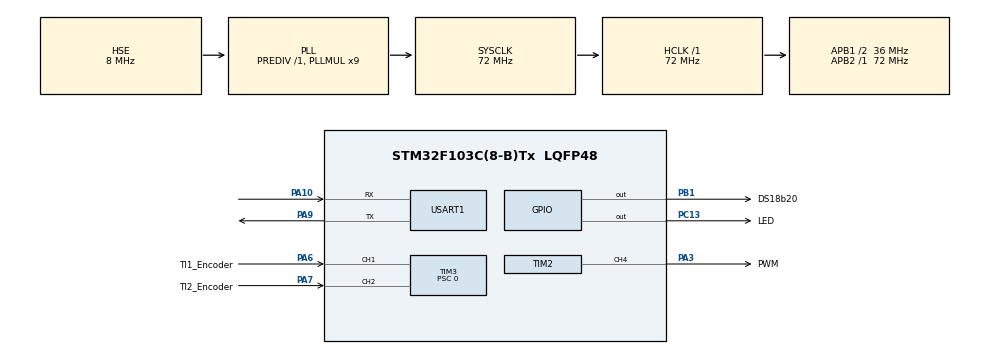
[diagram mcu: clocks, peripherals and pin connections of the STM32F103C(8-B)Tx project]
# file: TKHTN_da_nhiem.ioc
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FREERTOS.Tasks01=defaultTask,24,128,StartDefaultTask,Default,NULL,Dynamic,NULL,NULL;readSensor,24,128,StartTask02,Default,NULL,Dynamic,NULL,NULL;myTask03,24,128,StartTask03,Default,NULL,Dynamic,NULL,NULL
Mcu.Family=STM32F1
Mcu.Name=STM32F103C(8-B)Tx
Mcu.Package=LQFP48
NVIC.PriorityGroup=NVIC_PRIORITYGROUP_4
NVIC.USART1_IRQn=true\:5\:0\:false\:false\:true\:true\:true\:true
PA10.Mode=Asynchronous
PA10.Signal=USART1_RX
PA13.Mode=Serial_Wire
PA13.Signal=SYS_JTMS-SWDIO
PA14.Mode=Serial_Wire
PA14.Signal=SYS_JTCK-SWCLK
PA3.GPIO_Label=PWM
PA3.Signal=S_TIM2_CH4
PA6.GPIO_Label=TI1_Encoder
PA6.Signal=S_TIM3_CH1
PA7.GPIO_Label=TI2_Encoder
PA7.Signal=S_TIM3_CH2
PA9.Mode=Asynchronous
PA9.Signal=USART1_TX
PB1.GPIO_Label=DS18b20
PB1.Signal=GPIO_Output
PC13-TAMPER-RTC.GPIO_Label=LED
PC13-TAMPER-RTC.GPIO_ModeDefaultOutputPP=GPIO_MODE_OUTPUT_PP
PC13-TAMPER-RTC.Signal=GPIO_Output
PD0-OSC_IN.Mode=HSE-External-Oscillator
PD0-OSC_IN.Signal=RCC_OSC_IN
PD1-OSC_OUT.Mode=HSE-External-Oscillator
PD1-OSC_OUT.Signal=RCC_OSC_OUT
ProjectManager.HeapSize=0x200
ProjectManager.StackSize=0x400
ProjectManager.TargetToolchain=STM32CubeIDE
RCC.AHBFreq_Value=72000000
RCC.APB1CLKDivider=RCC_HCLK_DIV2
RCC.APB1Freq_Value=36000000
RCC.APB1TimFreq_Value=72000000
RCC.APB2Freq_Value=72000000
RCC.APB2TimFreq_Value=72000000
RCC.HCLKFreq_Value=72000000
RCC.PLLMUL=RCC_PLL_MUL9
RCC.PLLSourceVirtual=RCC_PLLSOURCE_HSE
RCC.SYSCLKFreq_VALUE=72000000
RCC.SYSCLKSource=RCC_SYSCLKSOURCE_PLLCLK
RCC.USBFreq_Value=72000000
SH.S_TIM2_CH4.0=TIM2_CH4,PWM Generation4 CH4
SH.S_TIM3_CH1.0=TIM3_CH1,Encoder_Interface
SH.S_TIM3_CH2.0=TIM3_CH2,Encoder_Interface
TIM2.Channel-PWM\ Generation4\ CH4=TIM_CHANNEL_4
TIM2.Period=99
TIM2.Prescaler=9-1
TIM3.EncoderMode=TIM_ENCODERMODE_TI1
TIM3.IC1Polarity=TIM_ICPOLARITY_FALLING
TIM3.IC2Polarity=TIM_ICPOLARITY_FALLING
TIM3.Prescaler=0
TIM4.Prescaler=72-1
USART1.VirtualMode=VM_ASYNC
VP_FREERTOS_VS_CMSIS_V2.Mode=CMSIS_V2
VP_TIM4_VS_ClockSourceINT.Mode=Internal
board=custom

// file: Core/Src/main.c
/* USER CODE BEGIN Header */
/**
  ******************************************************************************
  * @file           : main.c
  * @brief          : Main program body
  ******************************************************************************
  * @attention
  *
  * <h2><center>&copy; Copyright (c) 2022 STMicroelectronics.
  * All rights reserved.</center></h2>
  *
  * This software component is licensed by ST under BSD 3-Clause license,
  * the "License"; You may not use this file except in compliance with the
  * License. You may obtain a copy of the License at:
  *                        opensource.org/licenses/BSD-3-Clause
  *
  ******************************************************************************
  */
/* USER CODE END Header */
#include "main.h"
#include "cmsis_os.h"

/* USER CODE BEGIN Includes */
#include <stdio.h>
#include "DS18B20.h"
#include "Motor.h"
/* USER CODE END Includes */

TIM_HandleTypeDef htim2;
TIM_HandleTypeDef htim3;
TIM_HandleTypeDef htim4;

UART_HandleTypeDef huart1;

/* Definitions for defaultTask */
osThreadId_t defaultTaskHandle;
const osThreadAttr_t defaultTask_attributes = {
  .name = "defaultTask",
  .stack_size = 128 * 4,
  .priority = (osPriority_t) osPriorityNormal,
};
/* Definitions for readSensor */
osThreadId_t readSensorHandle;
const osThreadAttr_t readSensor_attributes = {
  .name = "readSensor",
  .stack_size = 128 * 4,
  .priority = (osPriority_t) osPriorityNormal,
};
/* Definitions for myTask03 */
osThreadId_t myTask03Handle;
const osThreadAttr_t myTask03_attributes = {
  .name = "myTask03",
  .stack_size = 128 * 4,
  .priority = (osPriority_t) osPriorityNormal,
};

void SystemClock_Config(void);
static void MX_GPIO_Init(void);
static void MX_USART1_UART_Init(void);
static void MX_TIM2_Init(void);
static void MX_TIM3_Init(void);
static void MX_TIM4_Init(void);
void StartDefaultTask(void *argument);
void StartTask02(void *argument);
void StartTask03(void *argument);

/* USER CODE BEGIN 0 */
uint8_t rxBuff = 0;
uint32_t counter = 0;

Motor_Name Motor;
DS18B20_Name DS;
float temp;

/* USER CODE END 0 */

int main(void)
{

  /* MCU Configuration--------------------------------------------------------*/

  /* Reset of all peripherals, Initializes the Flash interface and the Systick. */
  HAL_Init();

  /* Configure the system clock */
  SystemClock_Config();

  /* Initialize all configured peripherals */
  MX_GPIO_Init();
  MX_USART1_UART_Init();
  MX_TIM2_Init();
  MX_TIM3_Init();
  MX_TIM4_Init();

  /* Init scheduler */
  osKernelInitialize();

  /* Create the thread(s) */
  /* creation of defaultTask */
  defaultTaskHandle = osThreadNew(StartDefaultTask, NULL, &defaultTask_attributes);

  /* creation of readSensor */
  readSensorHandle = osThreadNew(StartTask02, NULL, &readSensor_attributes);

  /* creation of myTask03 */
  myTask03Handle = osThreadNew(StartTask03, NULL, &myTask03_attributes);

  /* Start scheduler */
  osKernelStart();

  /* We should never get here as control is now taken by the scheduler */
  /* Infinite loop */
  /* USER CODE BEGIN WHILE */
  DS18B20_Init(&DS, &htim4, DS18b20_GPIO_Port , DS18b20_Pin);
  Motor_Init_PWM(&Motor, &htim2, TIM_CHANNEL_4, 2000, 100);
  Motor_Init_Encoder(&Motor, &htim3, TIM_CHANNEL_1);

  while (1)
  {

	  temp = DS18B20_ReadTemp(&DS);
	  printf("temp = %f\n", temp);
	  printf("speed = %d\n", Motor_Get_Speed(&Motor));

	  HAL_Delay(2000);

    /* USER CODE END WHILE */

  }
}

void SystemClock_Config(void)
{
  RCC_OscInitTypeDef RCC_OscInitStruct = {0};
  RCC_ClkInitTypeDef RCC_ClkInitStruct = {0};

  /** Initializes the RCC Oscillators according to the specified parameters
  * in the RCC_OscInitTypeDef structure.
  */
  RCC_OscInitStruct.OscillatorType = RCC_OSCILLATORTYPE_HSE;
  RCC_OscInitStruct.HSEState = RCC_HSE_ON;
  RCC_OscInitStruct.HSEPredivValue = RCC_HSE_PREDIV_DIV1;
  RCC_OscInitStruct.HSIState = RCC_HSI_ON;
  RCC_OscInitStruct.PLL.PLLState = RCC_PLL_ON;
  RCC_OscInitStruct.PLL.PLLSource = RCC_PLLSOURCE_HSE;
  RCC_OscInitStruct.PLL.PLLMUL = RCC_PLL_MUL9;
  if (HAL_RCC_OscConfig(&RCC_OscInitStruct) != HAL_OK)
  {
    Error_Handler();
  }
  /** Initializes the CPU, AHB and APB buses clocks
  */
  RCC_ClkInitStruct.ClockType = RCC_CLOCKTYPE_HCLK|RCC_CLOCKTYPE_SYSCLK
                              |RCC_CLOCKTYPE_PCLK1|RCC_CLOCKTYPE_PCLK2;
  RCC_ClkInitStruct.SYSCLKSource = RCC_SYSCLKSOURCE_PLLCLK;
  RCC_ClkInitStruct.AHBCLKDivider = RCC_SYSCLK_DIV1;
  RCC_ClkInitStruct.APB1CLKDivider = RCC_HCLK_DIV2;
  RCC_ClkInitStruct.APB2CLKDivider = RCC_HCLK_DIV1;

  if (HAL_RCC_ClockConfig(&RCC_ClkInitStruct, FLASH_LATENCY_2) != HAL_OK)
  {
    Error_Handler();
  }
}

static void MX_TIM2_Init(void)
{

  TIM_MasterConfigTypeDef sMasterConfig = {0};
  TIM_OC_InitTypeDef sConfigOC = {0};

  htim2.Instance = TIM2;
  htim2.Init.Prescaler = 9-1;
  htim2.Init.CounterMode = TIM_COUNTERMODE_UP;
  htim2.Init.Period = 99;
  htim2.Init.ClockDivision = TIM_CLOCKDIVISION_DIV1;
  htim2.Init.AutoReloadPreload = TIM_AUTORELOAD_PRELOAD_DISABLE;
  if (HAL_TIM_PWM_Init(&htim2) != HAL_OK)
  {
    Error_Handler();
  }
  sMasterConfig.MasterOutputTrigger = TIM_TRGO_RESET;
  sMasterConfig.MasterSlaveMode = TIM_MASTERSLAVEMODE_DISABLE;
  if (HAL_TIMEx_MasterConfigSynchronization(&htim2, &sMasterConfig) != HAL_OK)
  {
    Error_Handler();
  }
  sConfigOC.OCMode = TIM_OCMODE_PWM1;
  sConfigOC.Pulse = 0;
  sConfigOC.OCPolarity = TIM_OCPOLARITY_HIGH;
  sConfigOC.OCFastMode = TIM_OCFAST_DISABLE;
  if (HAL_TIM_PWM_ConfigChannel(&htim2, &sConfigOC, TIM_CHANNEL_4) != HAL_OK)
  {
    Error_Handler();
  }
  HAL_TIM_MspPostInit(&htim2);

}

static void MX_TIM3_Init(void)
{

  TIM_Encoder_InitTypeDef sConfig = {0};
  TIM_MasterConfigTypeDef sMasterConfig = {0};

  htim3.Instance = TIM3;
  htim3.Init.Prescaler = 0;
  htim3.Init.CounterMode = TIM_COUNTERMODE_UP;
  htim3.Init.Period = 65535;
  htim3.Init.ClockDivision = TIM_CLOCKDIVISION_DIV1;
  htim3.Init.AutoReloadPreload = TIM_AUTORELOAD_PRELOAD_DISABLE;
  sConfig.EncoderMode = TIM_ENCODERMODE_TI1;
  sConfig.IC1Polarity = TIM_ICPOLARITY_FALLING;
  sConfig.IC1Selection = TIM_ICSELECTION_DIRECTTI;
  sConfig.IC1Prescaler = TIM_ICPSC_DIV1;
  sConfig.IC1Filter = 0;
  sConfig.IC2Polarity = TIM_ICPOLARITY_FALLING;
  sConfig.IC2Selection = TIM_ICSELECTION_DIRECTTI;
  sConfig.IC2Prescaler = TIM_ICPSC_DIV1;
  sConfig.IC2Filter = 0;
  if (HAL_TIM_Encoder_Init(&htim3, &sConfig) != HAL_OK)
  {
    Error_Handler();
  }
  sMasterConfig.MasterOutputTrigger = TIM_TRGO_RESET;
  sMasterConfig.MasterSlaveMode = TIM_MASTERSLAVEMODE_DISABLE;
  if (HAL_TIMEx_MasterConfigSynchronization(&htim3, &sMasterConfig) != HAL_OK)
  {
    Error_Handler();
  }

}

static void MX_TIM4_Init(void)
{

  TIM_ClockConfigTypeDef sClockSourceConfig = {0};
  TIM_MasterConfigTypeDef sMasterConfig = {0};

  htim4.Instance = TIM4;
  htim4.Init.Prescaler = 72-1;
  htim4.Init.CounterMode = TIM_COUNTERMODE_UP;
  htim4.Init.Period = 65535;
  htim4.Init.ClockDivision = TIM_CLOCKDIVISION_DIV1;
  htim4.Init.AutoReloadPreload = TIM_AUTORELOAD_PRELOAD_DISABLE;
  if (HAL_TIM_Base_Init(&htim4) != HAL_OK)
  {
    Error_Handler();
  }
  sClockSourceConfig.ClockSource = TIM_CLOCKSOURCE_INTERNAL;
  if (HAL_TIM_ConfigClockSource(&htim4, &sClockSourceConfig) != HAL_OK)
  {
    Error_Handler();
  }
  sMasterConfig.MasterOutputTrigger = TIM_TRGO_RESET;
  sMasterConfig.MasterSlaveMode = TIM_MASTERSLAVEMODE_DISABLE;
  if (HAL_TIMEx_MasterConfigSynchronization(&htim4, &sMasterConfig) != HAL_OK)
  {
    Error_Handler();
  }

}

static void MX_USART1_UART_Init(void)
{

  huart1.Instance = USART1;
  huart1.Init.BaudRate = 115200;
  huart1.Init.WordLength = UART_WORDLENGTH_8B;
  huart1.Init.StopBits = UART_STOPBITS_1;
  huart1.Init.Parity = UART_PARITY_NONE;
  huart1.Init.Mode = UART_MODE_TX_RX;
  huart1.Init.HwFlowCtl = UART_HWCONTROL_NONE;
  huart1.Init.OverSampling = UART_OVERSAMPLING_16;
  if (HAL_UART_Init(&huart1) != HAL_OK)
  {
    Error_Handler();
  }
  /* USER CODE BEGIN USART1_Init 2 */
  HAL_UART_Receive_IT(&huart1, (uint8_t *)&rxBuff, 1);
  /* USER CODE END USART1_Init 2 */

}

static void MX_GPIO_Init(void)
{
  GPIO_InitTypeDef GPIO_InitStruct = {0};

  /* GPIO Ports Clock Enable */
  __HAL_RCC_GPIOC_CLK_ENABLE();
  __HAL_RCC_GPIOD_CLK_ENABLE();
  __HAL_RCC_GPIOA_CLK_ENABLE();
  __HAL_RCC_GPIOB_CLK_ENABLE();

  /*Configure GPIO pin Output Level */
  HAL_GPIO_WritePin(LED_GPIO_Port, LED_Pin, GPIO_PIN_RESET);

  /*Configure GPIO pin Output Level */
  HAL_GPIO_WritePin(DS18b20_GPIO_Port, DS18b20_Pin, GPIO_PIN_RESET);

  /*Configure GPIO pin : LED_Pin */
  GPIO_InitStruct.Pin = LED_Pin;
  GPIO_InitStruct.Mode = GPIO_MODE_OUTPUT_PP;
  GPIO_InitStruct.Pull = GPIO_NOPULL;
  GPIO_InitStruct.Speed = GPIO_SPEED_FREQ_LOW;
  HAL_GPIO_Init(LED_GPIO_Port, &GPIO_InitStruct);

  /*Configure GPIO pin : DS18b20_Pin */
  GPIO_InitStruct.Pin = DS18b20_Pin;
  GPIO_InitStruct.Mode = GPIO_MODE_OUTPUT_PP;
  GPIO_InitStruct.Pull = GPIO_NOPULL;
  GPIO_InitStruct.Speed = GPIO_SPEED_FREQ_LOW;
  HAL_GPIO_Init(DS18b20_GPIO_Port, &GPIO_InitStruct);

}

/* USER CODE BEGIN 4 */
void HAL_UART_RxCpltCallback(UART_HandleTypeDef *huart)
{

	if(huart->Instance == USART1) {
		if(rxBuff == 't') {
			HAL_GPIO_TogglePin(LED_GPIO_Port, LED_Pin);
			// giai phong Semaphore;
		}

		HAL_UART_Receive_IT(&huart1, &rxBuff, 1);
	}
}

int __io_putchar(int ch) {

	HAL_UART_Transmit(&huart1,(uint8_t *)&ch, 1, 500);

	return ch;
}

/* USER CODE END 4 */

void StartDefaultTask(void *argument)
{
  /* USER CODE BEGIN 5 */
	__IO uint32_t tick3 = osKernelGetTickCount();
  /* Infinite loop */
  for(;;)
  {
    printf("111\n");
    tick3 += 500;
    osDelayUntil(tick3);
  }
  /* USER CODE END 5 */
}

void StartTask02(void *argument)
{
  /* USER CODE BEGIN StartTask02 */
	__IO uint32_t tick2 = osKernelGetTickCount();
  /* Infinite loop */
  for(;;)
  {
    printf("222\n");
    tick2 += 500;
    osDelayUntil(tick2);
  }
  /* USER CODE END StartTask02 */
}

void StartTask03(void *argument)
{
  /* USER CODE BEGIN StartTask03 */
	__IO uint32_t tick3 = osKernelGetTickCount();
  /* Infinite loop */
  for(;;)
  {
    printf("333\n");
    tick3 += 500;
    osDelayUntil(tick3);
  }
  /* USER CODE END StartTask03 */
}

void Error_Handler(void)
{
  __disable_irq();
  while (1)
  {
  }
}

/************************ (C) COPYRIGHT STMicroelectronics *****END OF FILE****/
